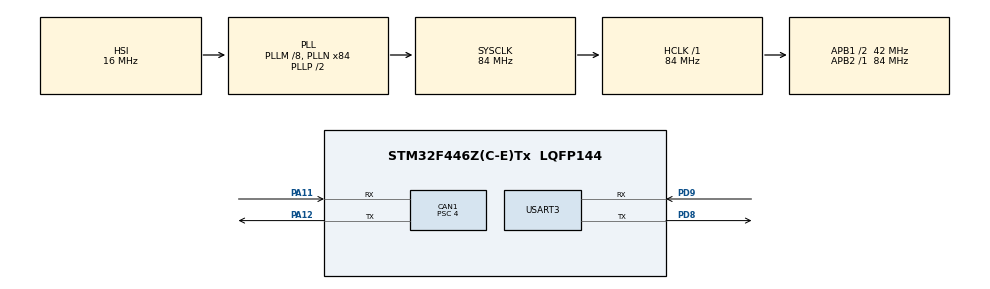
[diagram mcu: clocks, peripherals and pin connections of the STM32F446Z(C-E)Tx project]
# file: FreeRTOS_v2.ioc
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CAN1.BS1=CAN_BS1_13TQ
CAN1.BS2=CAN_BS2_2TQ
CAN1.CalculateBaudRate=656250
CAN1.CalculateTimeBit=1523
CAN1.CalculateTimeQuantum=95.23809523809524
CAN1.Prescaler=4
FREERTOS.Tasks01=App1,24,128,StartApp1,Default,NULL,Dynamic,NULL,NULL;App2,8,128,StartApp2,Default,NULL,Dynamic,NULL,NULL;RefreshWDT,40,128,StartRefreshWDT,Default,NULL,Dynamic,NULL,NULL
FREERTOS.configUSE_NEWLIB_REENTRANT=1
IWDG.Prescaler=IWDG_PRESCALER_128
IWDG.Reload=499
Mcu.Family=STM32F4
Mcu.Name=STM32F446Z(C-E)Tx
Mcu.Package=LQFP144
NVIC.PriorityGroup=NVIC_PRIORITYGROUP_4
NVIC.TIM6_DAC_IRQn=true\:15\:0\:false\:false\:true\:false\:false\:true\:true
NVIC.TimeBase=TIM6_DAC_IRQn
NVIC.TimeBaseIP=TIM6
PA11.Mode=CAN_Activate
PA11.Signal=CAN1_RX
PA12.Mode=CAN_Activate
PA12.Signal=CAN1_TX
PD8.Mode=Asynchronous
PD8.Signal=USART3_TX
PD9.Mode=Asynchronous
PD9.Signal=USART3_RX
ProjectManager.HeapSize=0x200
ProjectManager.StackSize=0x400
ProjectManager.TargetToolchain=STM32CubeIDE
RCC.AHBFreq_Value=84000000
RCC.APB1CLKDivider=RCC_HCLK_DIV2
RCC.APB1Freq_Value=42000000
RCC.APB1TimFreq_Value=84000000
RCC.APB2Freq_Value=84000000
RCC.APB2TimFreq_Value=84000000
RCC.CortexFreq_Value=84000000
RCC.HCLKFreq_Value=84000000
RCC.PLLM=8
RCC.PLLN=84
RCC.SYSCLKFreq_VALUE=84000000
RCC.SYSCLKSource=RCC_SYSCLKSOURCE_PLLCLK
RCC.USBFreq_Value=84000000
RCC.VCOOutputFreq_Value=168000000
USART3.VirtualMode=VM_ASYNC
VP_FREERTOS_VS_CMSIS_V2.Mode=CMSIS_V2
VP_IWDG_VS_IWDG.Mode=IWDG_Activate
VP_SYS_VS_tim6.Mode=TIM6
board=custom

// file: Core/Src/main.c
/* USER CODE BEGIN Header */
/**
  ******************************************************************************
  * @file           : main.c
  * @brief          : Main program body
  ******************************************************************************
  * @attention
  *
  * Copyright (c) 2024 STMicroelectronics.
  * All rights reserved.
  *
  * This software is licensed under terms that can be found in the LICENSE file
  * in the root directory of this software component.
  * If no LICENSE file comes with this software, it is provided AS-IS.
  *
  ******************************************************************************
  */
/* USER CODE END Header */
#include "main.h"
#include "cmsis_os.h"

/* USER CODE BEGIN Includes */
#include <stdio.h>
#include <stdbool.h>
/* USER CODE END Includes */

/* USER CODE BEGIN PD */
#define INITIALIZATION_FLAG_ADDRESS	0x0805FFFC
#define ERROR_UPDATE_FLAG_VALUE 	0XCCCCCCCC

bool Modify_Init_Flag = false;
/* USER CODE END PD */

CAN_HandleTypeDef hcan1;

IWDG_HandleTypeDef hiwdg;

UART_HandleTypeDef huart3;

/* Definitions for App1 */
osThreadId_t App1Handle;
const osThreadAttr_t App1_attributes = {
  .name = "App1",
  .stack_size = 128 * 4,
  .priority = (osPriority_t) osPriorityNormal,
};
/* Definitions for App2 */
osThreadId_t App2Handle;
const osThreadAttr_t App2_attributes = {
  .name = "App2",
  .stack_size = 128 * 4,
  .priority = (osPriority_t) osPriorityLow,
};
/* Definitions for RefreshWDT */
osThreadId_t RefreshWDTHandle;
const osThreadAttr_t RefreshWDT_attributes = {
  .name = "RefreshWDT",
  .stack_size = 128 * 4,
  .priority = (osPriority_t) osPriorityHigh,
};

void SystemClock_Config(void);
static void MX_GPIO_Init(void);
static void MX_CAN1_Init(void);
static void MX_USART3_UART_Init(void);
static void MX_IWDG_Init(void);
void StartApp1(void *argument);
void StartApp2(void *argument);
void StartRefreshWDT(void *argument);

int main(void)
{

  /* MCU Configuration--------------------------------------------------------*/

  /* Reset of all peripherals, Initializes the Flash interface and the Systick. */
  HAL_Init();

  /* Configure the system clock */
  SystemClock_Config();

  /* Initialize all configured peripherals */
  MX_GPIO_Init();
  MX_CAN1_Init();
  MX_USART3_UART_Init();
  MX_IWDG_Init();

  /* Init scheduler */
  osKernelInitialize();

  /* Create the thread(s) */
  /* creation of App1 */
  App1Handle = osThreadNew(StartApp1, NULL, &App1_attributes);

  /* creation of App2 */
  App2Handle = osThreadNew(StartApp2, NULL, &App2_attributes);

  /* creation of RefreshWDT */
  RefreshWDTHandle = osThreadNew(StartRefreshWDT, NULL, &RefreshWDT_attributes);

  /* Start scheduler */
  osKernelStart();

  /* We should never get here as control is now taken by the scheduler */

  /* Infinite loop */
  while (1)
  {

  }
}

void SystemClock_Config(void)
{
  RCC_OscInitTypeDef RCC_OscInitStruct = {0};
  RCC_ClkInitTypeDef RCC_ClkInitStruct = {0};

  /** Configure the main internal regulator output voltage
  */
  __HAL_RCC_PWR_CLK_ENABLE();
  __HAL_PWR_VOLTAGESCALING_CONFIG(PWR_REGULATOR_VOLTAGE_SCALE3);

  /** Initializes the RCC Oscillators according to the specified parameters
  * in the RCC_OscInitTypeDef structure.
  */
  RCC_OscInitStruct.OscillatorType = RCC_OSCILLATORTYPE_HSI|RCC_OSCILLATORTYPE_LSI;
  RCC_OscInitStruct.HSIState = RCC_HSI_ON;
  RCC_OscInitStruct.HSICalibrationValue = RCC_HSICALIBRATION_DEFAULT;
  RCC_OscInitStruct.LSIState = RCC_LSI_ON;
  RCC_OscInitStruct.PLL.PLLState = RCC_PLL_ON;
  RCC_OscInitStruct.PLL.PLLSource = RCC_PLLSOURCE_HSI;
  RCC_OscInitStruct.PLL.PLLM = 8;
  RCC_OscInitStruct.PLL.PLLN = 84;
  RCC_OscInitStruct.PLL.PLLP = RCC_PLLP_DIV2;
  RCC_OscInitStruct.PLL.PLLQ = 2;
  RCC_OscInitStruct.PLL.PLLR = 2;
  if (HAL_RCC_OscConfig(&RCC_OscInitStruct) != HAL_OK)
  {
    Error_Handler();
  }

  /** Initializes the CPU, AHB and APB buses clocks
  */
  RCC_ClkInitStruct.ClockType = RCC_CLOCKTYPE_HCLK|RCC_CLOCKTYPE_SYSCLK
                              |RCC_CLOCKTYPE_PCLK1|RCC_CLOCKTYPE_PCLK2;
  RCC_ClkInitStruct.SYSCLKSource = RCC_SYSCLKSOURCE_PLLCLK;
  RCC_ClkInitStruct.AHBCLKDivider = RCC_SYSCLK_DIV1;
  RCC_ClkInitStruct.APB1CLKDivider = RCC_HCLK_DIV2;
  RCC_ClkInitStruct.APB2CLKDivider = RCC_HCLK_DIV1;

  if (HAL_RCC_ClockConfig(&RCC_ClkInitStruct, FLASH_LATENCY_2) != HAL_OK)
  {
    Error_Handler();
  }
}

static void MX_CAN1_Init(void)
{

  hcan1.Instance = CAN1;
  hcan1.Init.Prescaler = 4;
  hcan1.Init.Mode = CAN_MODE_NORMAL;
  hcan1.Init.SyncJumpWidth = CAN_SJW_1TQ;
  hcan1.Init.TimeSeg1 = CAN_BS1_13TQ;
  hcan1.Init.TimeSeg2 = CAN_BS2_2TQ;
  hcan1.Init.TimeTriggeredMode = DISABLE;
  hcan1.Init.AutoBusOff = DISABLE;
  hcan1.Init.AutoWakeUp = DISABLE;
  hcan1.Init.AutoRetransmission = DISABLE;
  hcan1.Init.ReceiveFifoLocked = DISABLE;
  hcan1.Init.TransmitFifoPriority = DISABLE;
  if (HAL_CAN_Init(&hcan1) != HAL_OK)
  {
    Error_Handler();
  }

}

static void MX_IWDG_Init(void)
{

  hiwdg.Instance = IWDG;
  hiwdg.Init.Prescaler = IWDG_PRESCALER_128;
  hiwdg.Init.Reload = 499;
  if (HAL_IWDG_Init(&hiwdg) != HAL_OK)
  {
    Error_Handler();
  }

}

static void MX_USART3_UART_Init(void)
{

  huart3.Instance = USART3;
  huart3.Init.BaudRate = 115200;
  huart3.Init.WordLength = UART_WORDLENGTH_8B;
  huart3.Init.StopBits = UART_STOPBITS_1;
  huart3.Init.Parity = UART_PARITY_NONE;
  huart3.Init.Mode = UART_MODE_TX_RX;
  huart3.Init.HwFlowCtl = UART_HWCONTROL_NONE;
  huart3.Init.OverSampling = UART_OVERSAMPLING_16;
  if (HAL_UART_Init(&huart3) != HAL_OK)
  {
    Error_Handler();
  }

}

static void MX_GPIO_Init(void)
{

  /* GPIO Ports Clock Enable */
  __HAL_RCC_GPIOD_CLK_ENABLE();
  __HAL_RCC_GPIOA_CLK_ENABLE();

}

/* USER CODE BEGIN 4 */

/* Enabling a print function for Putty. */
#ifdef __GNUC__
 /* With GCC, small printf (option LD Linker->Libraries->Small printf set to 'Yes') calls __io_putchar() */
int __io_putchar(int ch)
#else
int fputc(int ch, FILE *f)
#endif /* __GNUC__ */
{
	HAL_UART_Transmit(&huart3, (uint8_t *)&ch, 1, HAL_MAX_DELAY);
	return ch;
}

static void writeInitFlag(uint32_t initFlag){
	HAL_FLASH_Unlock();

    if (HAL_FLASH_Program(TYPEPROGRAM_WORD, INITIALIZATION_FLAG_ADDRESS, initFlag) != HAL_OK) {
        // Error handling
    	printf("Flag program error. \r\n");
    }
    HAL_FLASH_Lock();
}

/* USER CODE END 4 */

void StartApp1(void *argument)
{
  /* USER CODE BEGIN 5 */
  /* Infinite loop */
  for(;;)
  {
	  printf("Hello from the new App 1. \r\n");
	  osDelay(3000);
  }
  /* USER CODE END 5 */
}

void StartApp2(void *argument)
{
  /* USER CODE BEGIN StartApp2 */
  /* Infinite loop */
  for(;;)
  {
	  printf("Hello from the new App 2. \r\n");
	  osDelay(3000);
  }
  /* USER CODE END StartApp2 */
}

void StartRefreshWDT(void *argument)
{
  /* USER CODE BEGIN StartRefreshWDT */
  /* Infinite loop */
  for(;;)
  {
	  if (!Modify_Init_Flag)
	  {
		  HAL_IWDG_Refresh(&hiwdg);
		  writeInitFlag(ERROR_UPDATE_FLAG_VALUE);
		  Modify_Init_Flag = true;
	  }
	//HAL_IWDG_Refresh(&hiwdg); // WDT timeout = 2 seconds (2000 ms)
    osDelay(1500);

  }
  /* USER CODE END StartRefreshWDT */
}

void HAL_TIM_PeriodElapsedCallback(TIM_HandleTypeDef *htim)
{
  if (htim->Instance == TIM6) {
    HAL_IncTick();
  }
}

void Error_Handler(void)
{
  __disable_irq();
  while (1)
  {
  }
}
